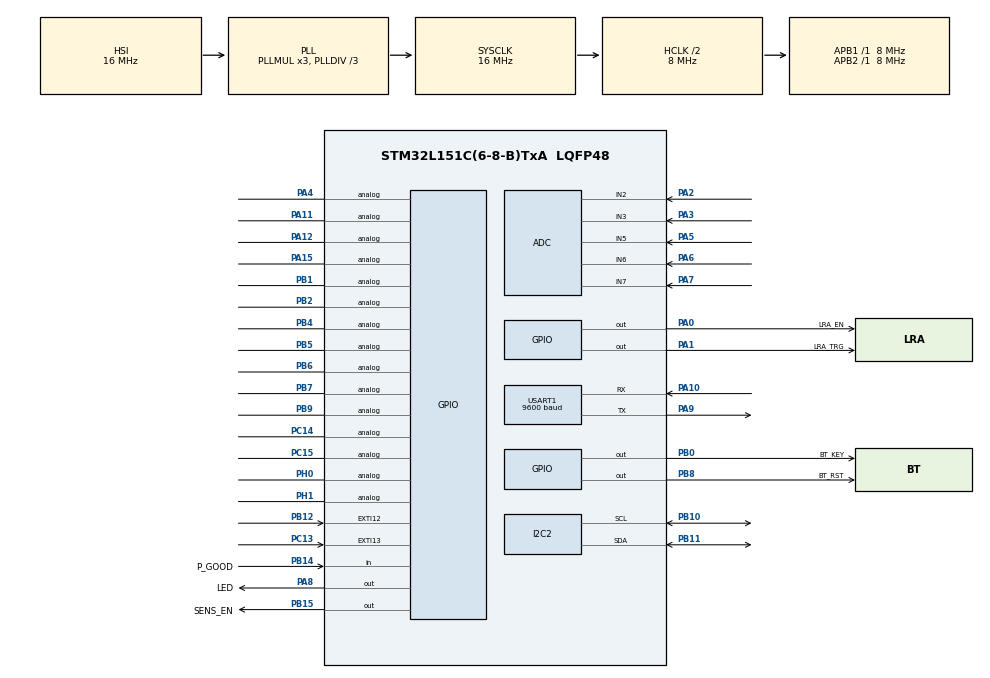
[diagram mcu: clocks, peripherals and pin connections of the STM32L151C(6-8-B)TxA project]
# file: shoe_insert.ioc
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ADC.Channel-1\#ChannelRegularConversion=ADC_CHANNEL_2
ADC.Channel-2\#ChannelRegularConversion=ADC_CHANNEL_3
ADC.Channel-3\#ChannelRegularConversion=ADC_CHANNEL_5
ADC.Channel-4\#ChannelRegularConversion=ADC_CHANNEL_6
ADC.Channel-5\#ChannelRegularConversion=ADC_CHANNEL_7
ADC.ClockPrescaler=ADC_CLOCK_ASYNC_DIV4
ADC.ContinuousConvMode=ENABLE
ADC.DMAContinuousRequests=ENABLE
ADC.LowPowerAutoPowerOff=ADC_AUTOPOWEROFF_IDLE_PHASE
ADC.LowPowerAutoWait=ADC_AUTOWAIT_255_APBCLOCKCYCLES
ADC.NbrOfConversion=5
ADC.NbrOfConversionFlag=1
ADC.Rank-1\#ChannelRegularConversion=1
ADC.Rank-2\#ChannelRegularConversion=2
ADC.Rank-3\#ChannelRegularConversion=3
ADC.Rank-4\#ChannelRegularConversion=4
ADC.Rank-5\#ChannelRegularConversion=5
ADC.SamplingTime-1\#ChannelRegularConversion=ADC_SAMPLETIME_384CYCLES
ADC.SamplingTime-2\#ChannelRegularConversion=ADC_SAMPLETIME_384CYCLES
ADC.SamplingTime-3\#ChannelRegularConversion=ADC_SAMPLETIME_384CYCLES
ADC.SamplingTime-4\#ChannelRegularConversion=ADC_SAMPLETIME_384CYCLES
ADC.SamplingTime-5\#ChannelRegularConversion=ADC_SAMPLETIME_384CYCLES
ADC.ScanConvMode=ADC_SCAN_ENABLE
Dma.ADC.0.Direction=DMA_PERIPH_TO_MEMORY
Dma.ADC.0.Instance=DMA1_Channel1
Dma.ADC.0.MemDataAlignment=DMA_MDATAALIGN_HALFWORD
Dma.ADC.0.MemInc=DMA_MINC_ENABLE
Dma.ADC.0.Mode=DMA_CIRCULAR
Dma.ADC.0.PeriphDataAlignment=DMA_PDATAALIGN_HALFWORD
Dma.ADC.0.PeriphInc=DMA_PINC_DISABLE
Dma.ADC.0.Priority=DMA_PRIORITY_LOW
Dma.Request0=ADC
FREERTOS.Tasks01=defaultTask,0,128,StartDefaultTask,Default,NULL,Dynamic,NULL,NULL;BtTask,0,450,StartBtTask,Default,NULL,Dynamic,NULL,NULL;LraGyroTask,0,256,StartLraGyroTask,Default,NULL,Dynamic,NULL,NULL;SensorsTask,0,256,StartSensorsTask,Default,NULL,Dynamic,NULL,NULL
FREERTOS.configTOTAL_HEAP_SIZE=5500
FREERTOS.configUSE_NEWLIB_REENTRANT=1
Mcu.Family=STM32L1
Mcu.Name=STM32L151C(6-8-B)TxA
Mcu.Package=LQFP48
NVIC.DMA1_Channel1_IRQn=true\:15\:0\:true\:false\:true\:true\:false\:true\:true
NVIC.EXTI15_10_IRQn=true\:5\:0\:false\:false\:true\:true\:true\:true\:true
NVIC.PriorityGroup=NVIC_PRIORITYGROUP_4
NVIC.TIM11_IRQn=true\:15\:0\:false\:false\:true\:false\:false\:true\:true
NVIC.TimeBase=TIM11_IRQn
NVIC.TimeBaseIP=TIM11
NVIC.USART1_IRQn=true\:5\:0\:false\:false\:true\:true\:true\:true\:true
PA0-WKUP1.GPIO_Label=LRA_EN
PA0-WKUP1.Signal=GPIO_Output
PA1.GPIO_Label=LRA_TRG
PA1.Signal=GPIO_Output
PA10.Mode=Asynchronous
PA10.Signal=USART1_RX
PA11.Signal=GPIO_Analog
PA12.Signal=GPIO_Analog
PA13.Mode=Trace_Asynchronous_SW
PA13.Signal=SYS_JTMS-SWDIO
PA14.Mode=Trace_Asynchronous_SW
PA14.Signal=SYS_JTCK-SWCLK
PA15.Signal=GPIO_Analog
PA2.Mode=IN2
PA2.Signal=ADC_IN2
PA3.Mode=IN3
PA3.Signal=ADC_IN3
PA4.Signal=GPIO_Analog
PA5.Mode=IN5
PA5.Signal=ADC_IN5
PA6.Mode=IN6
PA6.Signal=ADC_IN6
PA7.Mode=IN7
PA7.Signal=ADC_IN7
PA8.GPIO_Label=LED
PA8.Signal=GPIO_Output
PA9.Mode=Asynchronous
PA9.Signal=USART1_TX
PB0.GPIO_Label=BT_KEY
PB0.Signal=GPIO_Output
PB1.Signal=GPIO_Analog
PB10.Mode=I2C
PB10.Signal=I2C2_SCL
PB11.Mode=I2C
PB11.Signal=I2C2_SDA
PB12.Signal=GPXTI12
PB14.GPIO_Label=P_GOOD
PB14.Signal=GPIO_Input
PB15.GPIO_Label=SENS_EN
PB15.Signal=GPIO_Output
PB2.Signal=GPIO_Analog
PB3.Mode=Trace_Asynchronous_SW
PB3.Signal=SYS_JTDO-TRACESWO
PB4.Signal=GPIO_Analog
PB5.Signal=GPIO_Analog
PB6.Signal=GPIO_Analog
PB7.Signal=GPIO_Analog
PB8.GPIO_Label=BT_RST
PB8.PinState=GPIO_PIN_SET
PB8.Signal=GPIO_Output
PB9.Signal=GPIO_Analog
PC13-WKUP2.GPIO_PuPd=GPIO_PULLDOWN
PC13-WKUP2.Signal=GPXTI13
PC14-OSC32_IN.Signal=GPIO_Analog
PC15-OSC32_OUT.Signal=GPIO_Analog
PH0-OSC_IN.Signal=GPIO_Analog
PH1-OSC_OUT.Signal=GPIO_Analog
ProjectManager.HeapSize=0x200
ProjectManager.StackSize=0x400
ProjectManager.TargetToolchain=STM32CubeIDE
RCC.AHBCLKDivider=RCC_SYSCLK_DIV2
RCC.AHBFreq_Value=8000000
RCC.APB1Freq_Value=8000000
RCC.APB1TimFreq_Value=8000000
RCC.APB2Freq_Value=8000000
RCC.APB2TimFreq_Value=8000000
RCC.HCLKFreq_Value=8000000
RCC.HSE_VALUE=24000000
RCC.HSI_VALUE=16000000
RCC.LSE_VALUE=32768
RCC.MSI_VALUE=2097000
RCC.PLLDIV=RCC_PLL_DIV3
RCC.SYSCLKFreq_VALUE=16000000
RCC.SYSCLKSource=RCC_SYSCLKSOURCE_PLLCLK
RCC.VCOOutputFreq_Value=48000000
USART1.BaudRate=9600
USART1.VirtualMode=VM_ASYNC
VP_FREERTOS_VS_CMSIS_V1.Mode=CMSIS_V1
VP_SYS_VS_tim11.Mode=TIM11
board=custom

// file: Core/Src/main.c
/* USER CODE BEGIN Header */
/**
  ******************************************************************************
  * @file           : main.c
  * @brief          : Main program body
  ******************************************************************************
  * @attention
  *
  * Copyright (c) 2023 STMicroelectronics.
  * All rights reserved.
  *
  * This software is licensed under terms that can be found in the LICENSE file
  * in the root directory of this software component.
  * If no LICENSE file comes with this software, it is provided AS-IS.
  *
  ******************************************************************************
  */
/* USER CODE END Header */
#include "main.h"
#include "cmsis_os.h"

/* USER CODE BEGIN Includes */
#include "ble.h"
#include "drv2605.h"
#include "hm10.h"
#include "lsm6.h"
#include "motor.h"
#include "sens.h"
/* USER CODE END Includes */

ADC_HandleTypeDef hadc;
DMA_HandleTypeDef hdma_adc;

I2C_HandleTypeDef hi2c2;

UART_HandleTypeDef huart1;

osThreadId defaultTaskHandle;
osThreadId BtTaskHandle;
osThreadId LraGyroTaskHandle;
osThreadId SensorsTaskHandle;
/* USER CODE BEGIN PV */
bool lpm = false;
volatile uint16_t adc_dma_result[5];
int adc_channel_count = sizeof(adc_dma_result)/sizeof(adc_dma_result[0]);
bool adc_conv_complete_flag = 0;
/* USER CODE END PV */

void SystemClock_Config(void);
static void MX_GPIO_Init(void);
static void MX_DMA_Init(void);
static void MX_ADC_Init(void);
static void MX_I2C2_Init(void);
static void MX_USART1_UART_Init(void);
void StartDefaultTask(void const * argument);
void StartBtTask(void const * argument);
void StartLraGyroTask(void const * argument);
void StartSensorsTask(void const * argument);

/* USER CODE BEGIN PFP */
void HAL_ADC_ConvCpltCallback(ADC_HandleTypeDef* hadc){
  // I set adc_conv_complete_flag variable to 1 when,
  // HAL_ADC_ConvCpltCallback function is call.
  adc_conv_complete_flag = true;
  if(lpm)
  {
    for(uint8_t i=0;i<adc_channel_count;i++)
      if(adc_dma_result[i] > 40)
        HAL_NVIC_SystemReset();
  }
}
/* USER CODE END PFP */

/* USER CODE BEGIN 0 */
void HAL_GPIO_EXTI_Callback(uint16_t GPIO_Pin)
{
//  HAL_ResumeTick();
//  HAL_GPIO_WritePin(BT_RST_GPIO_Port, BT_RST_Pin, 1);
//  if(HAL_ADC_Start_DMA(&hadc, (uint32_t *) adc_dma_result , adc_channel_count) != HAL_OK)
//  {
//    Error_Handler();
//  }
  if(GPIO_Pin == GPIO_PIN_13 && Haptic_DRV2605_inited())
  {
//     Haptic_DRV2605_go();
     Haptic_DRV2605_inited();
  }
}
/* USER CODE END 0 */

int main(void)
{

  /* MCU Configuration--------------------------------------------------------*/

  /* Reset of all peripherals, Initializes the Flash interface and the Systick. */
  HAL_Init();

  /* Configure the system clock */
  SystemClock_Config();

  /* Initialize all configured peripherals */
  MX_GPIO_Init();
  MX_DMA_Init();
  MX_ADC_Init();
  MX_I2C2_Init();
  MX_USART1_UART_Init();
  /* USER CODE BEGIN 2 */
  if(__HAL_PWR_GET_FLAG(PWR_FLAG_SB) != RESET)
  {
    HAL_PWR_DisableWakeUpPin(PWR_WAKEUP_PIN2);
  }

  assert_param(STAND_SIT_TIMEOUT >= WALK_TIMEOUT);
  assert_param(check_are_calibrated_values_ok() == true);

  if(HAL_ADC_Start_DMA(&hadc, (uint32_t *) adc_dma_result , adc_channel_count) != HAL_OK)
  {
    Error_Handler();
  }

  /* USER CODE END 2 */

  /* Create the thread(s) */
  /* definition and creation of defaultTask */
  osThreadDef(defaultTask, StartDefaultTask, osPriorityNormal, 0, 128);
  defaultTaskHandle = osThreadCreate(osThread(defaultTask), NULL);

  /* definition and creation of BtTask */
  osThreadDef(BtTask, StartBtTask, osPriorityNormal, 0, 450);
  BtTaskHandle = osThreadCreate(osThread(BtTask), NULL);

  /* definition and creation of LraGyroTask */
  osThreadDef(LraGyroTask, StartLraGyroTask, osPriorityNormal, 0, 128);
  LraGyroTaskHandle = osThreadCreate(osThread(LraGyroTask), NULL);

  /* definition and creation of SensorsTask */
  osThreadDef(SensorsTask, StartSensorsTask, osPriorityNormal, 0, 256);
  SensorsTaskHandle = osThreadCreate(osThread(SensorsTask), NULL);

  /* Start scheduler */
  osKernelStart();
  /* We should never get here as control is now taken by the scheduler */
  /* Infinite loop */
  while (1)
  {

  }
}

void SystemClock_Config(void)
{
  RCC_OscInitTypeDef RCC_OscInitStruct = {0};
  RCC_ClkInitTypeDef RCC_ClkInitStruct = {0};

  /** Configure the main internal regulator output voltage
  */
  __HAL_PWR_VOLTAGESCALING_CONFIG(PWR_REGULATOR_VOLTAGE_SCALE1);

  /** Initializes the RCC Oscillators according to the specified parameters
  * in the RCC_OscInitTypeDef structure.
  */
  RCC_OscInitStruct.OscillatorType = RCC_OSCILLATORTYPE_HSI;
  RCC_OscInitStruct.HSIState = RCC_HSI_ON;
  RCC_OscInitStruct.HSICalibrationValue = RCC_HSICALIBRATION_DEFAULT;
  RCC_OscInitStruct.PLL.PLLState = RCC_PLL_ON;
  RCC_OscInitStruct.PLL.PLLSource = RCC_PLLSOURCE_HSI;
  RCC_OscInitStruct.PLL.PLLMUL = RCC_PLL_MUL3;
  RCC_OscInitStruct.PLL.PLLDIV = RCC_PLL_DIV3;
  if (HAL_RCC_OscConfig(&RCC_OscInitStruct) != HAL_OK)
  {
    Error_Handler();
  }

  /** Initializes the CPU, AHB and APB buses clocks
  */
  RCC_ClkInitStruct.ClockType = RCC_CLOCKTYPE_HCLK|RCC_CLOCKTYPE_SYSCLK
                              |RCC_CLOCKTYPE_PCLK1|RCC_CLOCKTYPE_PCLK2;
  RCC_ClkInitStruct.SYSCLKSource = RCC_SYSCLKSOURCE_PLLCLK;
  RCC_ClkInitStruct.AHBCLKDivider = RCC_SYSCLK_DIV2;
  RCC_ClkInitStruct.APB1CLKDivider = RCC_HCLK_DIV1;
  RCC_ClkInitStruct.APB2CLKDivider = RCC_HCLK_DIV1;

  if (HAL_RCC_ClockConfig(&RCC_ClkInitStruct, FLASH_LATENCY_0) != HAL_OK)
  {
    Error_Handler();
  }
}

static void MX_ADC_Init(void)
{

  ADC_ChannelConfTypeDef sConfig = {0};

  /** Configure the global features of the ADC (Clock, Resolution, Data Alignment and number of conversion)
  */
  hadc.Instance = ADC1;
  hadc.Init.ClockPrescaler = ADC_CLOCK_ASYNC_DIV4;
  hadc.Init.Resolution = ADC_RESOLUTION_12B;
  hadc.Init.DataAlign = ADC_DATAALIGN_RIGHT;
  hadc.Init.ScanConvMode = ADC_SCAN_ENABLE;
  hadc.Init.EOCSelection = ADC_EOC_SEQ_CONV;
  hadc.Init.LowPowerAutoWait = ADC_AUTOWAIT_255_APBCLOCKCYCLES;
  hadc.Init.LowPowerAutoPowerOff = ADC_AUTOPOWEROFF_IDLE_PHASE;
  hadc.Init.ChannelsBank = ADC_CHANNELS_BANK_A;
  hadc.Init.ContinuousConvMode = ENABLE;
  hadc.Init.NbrOfConversion = 5;
  hadc.Init.DiscontinuousConvMode = DISABLE;
  hadc.Init.ExternalTrigConv = ADC_SOFTWARE_START;
  hadc.Init.ExternalTrigConvEdge = ADC_EXTERNALTRIGCONVEDGE_NONE;
  hadc.Init.DMAContinuousRequests = ENABLE;
  if (HAL_ADC_Init(&hadc) != HAL_OK)
  {
    Error_Handler();
  }

  /** Configure for the selected ADC regular channel its corresponding rank in the sequencer and its sample time.
  */
  sConfig.Channel = ADC_CHANNEL_2;
  sConfig.Rank = ADC_REGULAR_RANK_1;
  sConfig.SamplingTime = ADC_SAMPLETIME_384CYCLES;
  if (HAL_ADC_ConfigChannel(&hadc, &sConfig) != HAL_OK)
  {
    Error_Handler();
  }

  /** Configure for the selected ADC regular channel its corresponding rank in the sequencer and its sample time.
  */
  sConfig.Channel = ADC_CHANNEL_3;
  sConfig.Rank = ADC_REGULAR_RANK_2;
  if (HAL_ADC_ConfigChannel(&hadc, &sConfig) != HAL_OK)
  {
    Error_Handler();
  }

  /** Configure for the selected ADC regular channel its corresponding rank in the sequencer and its sample time.
  */
  sConfig.Channel = ADC_CHANNEL_5;
  sConfig.Rank = ADC_REGULAR_RANK_3;
  if (HAL_ADC_ConfigChannel(&hadc, &sConfig) != HAL_OK)
  {
    Error_Handler();
  }

  /** Configure for the selected ADC regular channel its corresponding rank in the sequencer and its sample time.
  */
  sConfig.Channel = ADC_CHANNEL_6;
  sConfig.Rank = ADC_REGULAR_RANK_4;
  if (HAL_ADC_ConfigChannel(&hadc, &sConfig) != HAL_OK)
  {
    Error_Handler();
  }

  /** Configure for the selected ADC regular channel its corresponding rank in the sequencer and its sample time.
  */
  sConfig.Channel = ADC_CHANNEL_7;
  sConfig.Rank = ADC_REGULAR_RANK_5;
  if (HAL_ADC_ConfigChannel(&hadc, &sConfig) != HAL_OK)
  {
    Error_Handler();
  }

}

static void MX_I2C2_Init(void)
{

  hi2c2.Instance = I2C2;
  hi2c2.Init.ClockSpeed = 100000;
  hi2c2.Init.DutyCycle = I2C_DUTYCYCLE_2;
  hi2c2.Init.OwnAddress1 = 0;
  hi2c2.Init.AddressingMode = I2C_ADDRESSINGMODE_7BIT;
  hi2c2.Init.DualAddressMode = I2C_DUALADDRESS_DISABLE;
  hi2c2.Init.OwnAddress2 = 0;
  hi2c2.Init.GeneralCallMode = I2C_GENERALCALL_DISABLE;
  hi2c2.Init.NoStretchMode = I2C_NOSTRETCH_DISABLE;
  if (HAL_I2C_Init(&hi2c2) != HAL_OK)
  {
    Error_Handler();
  }

}

static void MX_USART1_UART_Init(void)
{

  huart1.Instance = USART1;
  huart1.Init.BaudRate = 9600;
  huart1.Init.WordLength = UART_WORDLENGTH_8B;
  huart1.Init.StopBits = UART_STOPBITS_1;
  huart1.Init.Parity = UART_PARITY_NONE;
  huart1.Init.Mode = UART_MODE_TX_RX;
  huart1.Init.HwFlowCtl = UART_HWCONTROL_NONE;
  huart1.Init.OverSampling = UART_OVERSAMPLING_16;
  if (HAL_UART_Init(&huart1) != HAL_OK)
  {
    Error_Handler();
  }

}

static void MX_DMA_Init(void)
{

  /* DMA controller clock enable */
  __HAL_RCC_DMA1_CLK_ENABLE();

  /* DMA interrupt init */
  /* DMA1_Channel1_IRQn interrupt configuration */
  HAL_NVIC_SetPriority(DMA1_Channel1_IRQn, 15, 0);
  HAL_NVIC_EnableIRQ(DMA1_Channel1_IRQn);

}

static void MX_GPIO_Init(void)
{
  GPIO_InitTypeDef GPIO_InitStruct = {0};

  /* GPIO Ports Clock Enable */
  __HAL_RCC_GPIOC_CLK_ENABLE();
  __HAL_RCC_GPIOH_CLK_ENABLE();
  __HAL_RCC_GPIOA_CLK_ENABLE();
  __HAL_RCC_GPIOB_CLK_ENABLE();

  /*Configure GPIO pin Output Level */
  HAL_GPIO_WritePin(GPIOA, LRA_EN_Pin|LRA_TRG_Pin|LED_Pin, GPIO_PIN_RESET);

  /*Configure GPIO pin Output Level */
  HAL_GPIO_WritePin(GPIOB, BT_KEY_Pin|SENS_EN_Pin, GPIO_PIN_RESET);

  /*Configure GPIO pin Output Level */
  HAL_GPIO_WritePin(BT_RST_GPIO_Port, BT_RST_Pin, GPIO_PIN_SET);

  /*Configure GPIO pin : PC13 */
  GPIO_InitStruct.Pin = GPIO_PIN_13;
  GPIO_InitStruct.Mode = GPIO_MODE_IT_RISING;
  GPIO_InitStruct.Pull = GPIO_PULLDOWN;
  HAL_GPIO_Init(GPIOC, &GPIO_InitStruct);

  /*Configure GPIO pins : PC14 PC15 */
  GPIO_InitStruct.Pin = GPIO_PIN_14|GPIO_PIN_15;
  GPIO_InitStruct.Mode = GPIO_MODE_ANALOG;
  GPIO_InitStruct.Pull = GPIO_NOPULL;
  HAL_GPIO_Init(GPIOC, &GPIO_InitStruct);

  /*Configure GPIO pins : PH0 PH1 */
  GPIO_InitStruct.Pin = GPIO_PIN_0|GPIO_PIN_1;
  GPIO_InitStruct.Mode = GPIO_MODE_ANALOG;
  GPIO_InitStruct.Pull = GPIO_NOPULL;
  HAL_GPIO_Init(GPIOH, &GPIO_InitStruct);

  /*Configure GPIO pins : LRA_EN_Pin LRA_TRG_Pin LED_Pin */
  GPIO_InitStruct.Pin = LRA_EN_Pin|LRA_TRG_Pin|LED_Pin;
  GPIO_InitStruct.Mode = GPIO_MODE_OUTPUT_PP;
  GPIO_InitStruct.Pull = GPIO_NOPULL;
  GPIO_InitStruct.Speed = GPIO_SPEED_FREQ_LOW;
  HAL_GPIO_Init(GPIOA, &GPIO_InitStruct);

  /*Configure GPIO pins : PA4 PA11 PA12 PA15 */
  GPIO_InitStruct.Pin = GPIO_PIN_4|GPIO_PIN_11|GPIO_PIN_12|GPIO_PIN_15;
  GPIO_InitStruct.Mode = GPIO_MODE_ANALOG;
  GPIO_InitStruct.Pull = GPIO_NOPULL;
  HAL_GPIO_Init(GPIOA, &GPIO_InitStruct);

  /*Configure GPIO pins : BT_KEY_Pin SENS_EN_Pin BT_RST_Pin */
  GPIO_InitStruct.Pin = BT_KEY_Pin|SENS_EN_Pin|BT_RST_Pin;
  GPIO_InitStruct.Mode = GPIO_MODE_OUTPUT_PP;
  GPIO_InitStruct.Pull = GPIO_NOPULL;
  GPIO_InitStruct.Speed = GPIO_SPEED_FREQ_LOW;
  HAL_GPIO_Init(GPIOB, &GPIO_InitStruct);

  /*Configure GPIO pins : PB1 PB2 PB4 PB5
                           PB6 PB7 PB9 */
  GPIO_InitStruct.Pin = GPIO_PIN_1|GPIO_PIN_2|GPIO_PIN_4|GPIO_PIN_5
                          |GPIO_PIN_6|GPIO_PIN_7|GPIO_PIN_9;
  GPIO_InitStruct.Mode = GPIO_MODE_ANALOG;
  GPIO_InitStruct.Pull = GPIO_NOPULL;
  HAL_GPIO_Init(GPIOB, &GPIO_InitStruct);

  /*Configure GPIO pin : PB12 */
  GPIO_InitStruct.Pin = GPIO_PIN_12;
  GPIO_InitStruct.Mode = GPIO_MODE_IT_RISING;
  GPIO_InitStruct.Pull = GPIO_NOPULL;
  HAL_GPIO_Init(GPIOB, &GPIO_InitStruct);

  /*Configure GPIO pin : P_GOOD_Pin */
  GPIO_InitStruct.Pin = P_GOOD_Pin;
  GPIO_InitStruct.Mode = GPIO_MODE_INPUT;
  GPIO_InitStruct.Pull = GPIO_NOPULL;
  HAL_GPIO_Init(P_GOOD_GPIO_Port, &GPIO_InitStruct);

  /* EXTI interrupt init*/
  HAL_NVIC_SetPriority(EXTI15_10_IRQn, 5, 0);
  HAL_NVIC_EnableIRQ(EXTI15_10_IRQn);

}

/* USER CODE BEGIN 4 */
extern HM10_stat_s stats;
/* USER CODE END 4 */

void StartDefaultTask(void const * argument)
{
  /* USER CODE BEGIN 5 */
  /* Infinite loop */
  for(;;)
  {
    lpm = stats.status == HM10_SLEEP_MODE ? true : false;

//    if(sleep_mode && !last_cycle_sleep_mode)
    if(lpm)
    {
      // as soon as ble enters sleep mode uC need to disable all peripheral and enter standby mode
      HAL_GPIO_WritePin(SENS_EN_GPIO_Port, SENS_EN_Pin, 1);
      HAL_GPIO_WritePin(LRA_EN_GPIO_Port, LRA_EN_Pin, 0);
      HAL_GPIO_WritePin(GPIOB, GPIO_PIN_12, 0);
      HAL_SuspendTick();
      HAL_ADC_Stop_DMA(&hadc);
      __HAL_PWR_CLEAR_FLAG(PWR_FLAG_WU);
      HAL_PWR_EnableWakeUpPin(PWR_WAKEUP_PIN2);
      HAL_PWR_EnterSTANDBYMode();
    }

  }
  /* USER CODE END 5 */
}

void StartBtTask(void const * argument)
{
  /* USER CODE BEGIN StartBtTask */
//  HAL_GPIO_WritePin(BT_RST_GPIO_Port, BT_RST_Pin, 1);
  HM10_configure_device();
  /* Infinite loop */
  for(;;)
  {
    HM10_handle_connection();
    osDelay(50);
  }
  /* USER CODE END StartBtTask */
}

void StartLraGyroTask(void const * argument)
{
  /* USER CODE BEGIN StartLraGyroTask */
  /* Infinite loop */

  // enable drv module
  HAL_GPIO_WritePin(LRA_EN_GPIO_Port, LRA_EN_Pin, 1);
  osDelay(10);
  // initialize drv regs
  Haptic_DRV2605_begin();
  // initialize lsm regs (to compare step detection)
  lsm_init();
  for(;;)
  {
    handle_vibration();
    handle_lsm_steps();
    osDelay(500);
  }
  /* USER CODE END StartLraGyroTask */
}

void StartSensorsTask(void const * argument)
{
  /* USER CODE BEGIN StartSensorsTask */
  HAL_GPIO_WritePin(SENS_EN_GPIO_Port, SENS_EN_Pin, 0);
  /* Infinite loop */
  for(;;)
  {
    sens_handler();
    osDelay(1);
  }
  /* USER CODE END StartSensorsTask */
}

void HAL_TIM_PeriodElapsedCallback(TIM_HandleTypeDef *htim)
{
  if (htim->Instance == TIM11) {
    HAL_IncTick();
  }
}

void Error_Handler(void)
{
  __disable_irq();
  while (1)
  {
  }
}
